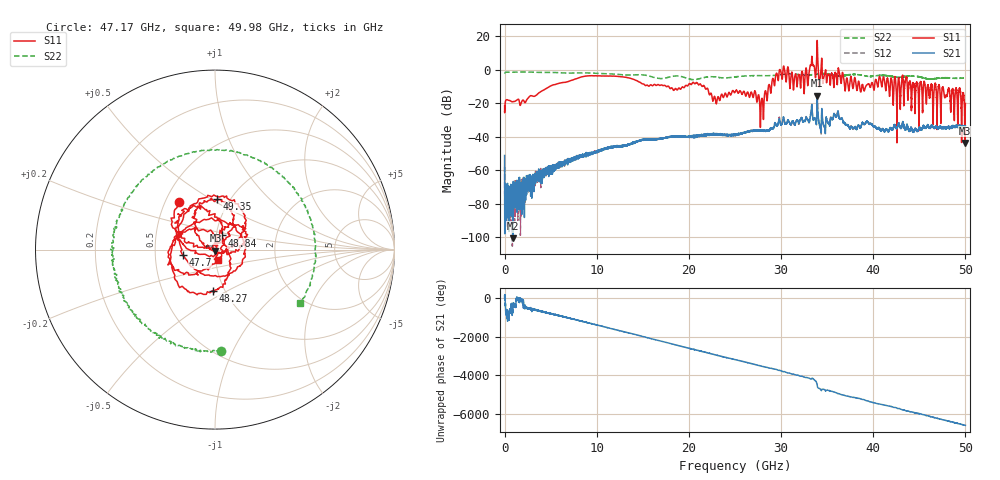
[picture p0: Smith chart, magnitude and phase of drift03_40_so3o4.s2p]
!Created with skrf (http://scikit-rf.org).
# Hz S RI R 50.0
!freq ReS11 ImS11 ReS21 ImS21 ReS12 ImS12 ReS22 ImS22
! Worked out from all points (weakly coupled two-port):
!   10001 points, 300 kHz to 50 GHz, reference 50 ohm
!   highest |S21| = -15.52 dB at 33.92 GHz (marker M1); lowest = -100.4 dB at 900.3 MHz (marker M2)
!   lowest |S11| = -43.7 dB at 49.95 GHz (marker M3), VSWR 1.01, Z = 50.2 - j0.616 ohm
!   |S11| at or under -10 dB: start of sweep to 4.849 GHz; 21.69 GHz to 28.62 GHz (6.935 GHz wide, 27.6 % of centre); 47.18 GHz to end of sweep (the widest 3 of 46)
!   |S22| runs from -5.9 to -1.3 dB; largest |S21 - S12| = 0.018
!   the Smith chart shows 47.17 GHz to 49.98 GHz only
!   S11 on the Smith chart (normalised r, x): 47.17 GHz: 0.59, +0.35; 47.7 GHz: 0.69, -0.04; 48.27 GHz: 0.88, -0.42; 48.84 GHz: 1.06, +0.17; 49.35 GHz: 0.88, +0.53; 49.98 GHz: 1.03, -0.12
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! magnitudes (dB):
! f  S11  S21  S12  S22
! 300 kHz  -21.5  -51.1  -57.6  -2.0
! 255.3 MHz  -17.9  -73.7  -87.4  -1.4
! 900.3 MHz  -19.0  -100.4  -73.6  -1.5
! 8.335 GHz  -4.3  -51.3  -51.4  -1.9
! 16.67 GHz  -8.8  -41.3  -41.4  -5.2
! 22.81 GHz  -16.1  -38.5  -38.5  -4.3
! 25 GHz  -13.4  -39.0  -38.6  -4.3
! 27.92 GHz  -17.1  -36.6  -36.4  -3.5
! 29.69 GHz  -6.5  -32.0  -31.8  -3.1
! 32.32 GHz  -1.5  -30.4  -30.7  -3.3
! 33.34 GHz  7.8  -20.7  -20.8  -2.9
! 33.92 GHz  17.5  -15.5  -15.8  -2.4
! 38.82 GHz  -9.0  -31.4  -31.8  -3.3
! 41.67 GHz  -9.0  -36.7  -36.7  -3.7
! 47.17 GHz  -9.6  -34.1  -34.0  -4.9
! 47.7 GHz  -14.8  -34.6  -34.1  -4.8
! 48.27 GHz  -12.8  -35.4  -34.3  -4.9
! 48.84 GHz  -21.2  -34.2  -34.1  -5.1
! 49.35 GHz  -11.0  -33.2  -33.6  -5.1
! 49.95 GHz  -43.7  -33.5  -34.2  -5.0
! 49.98 GHz  -24.0  -34.0  -34.2  -5.0
! 50 GHz  -20.1  -33.4  -33.7  -4.9
